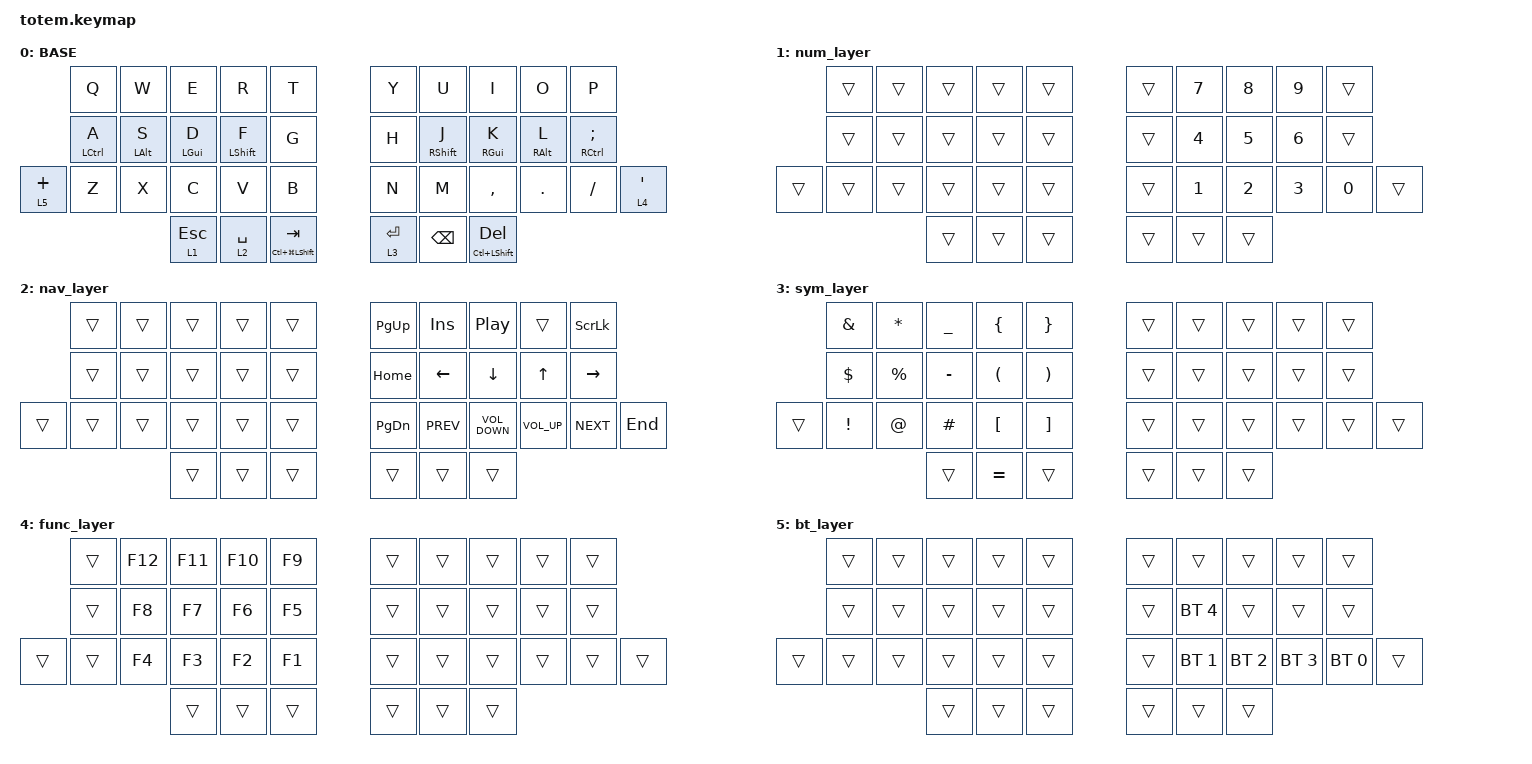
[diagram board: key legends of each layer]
//
//                                                        ▀▀▀▀▀     ▀▀▀▀▀          ▀▀█▀▀
//                                                        ▄▀▀▀▄  ▄  ▄▀▀▀▄  ▄  ▄▀▀▀▄  █  ▄▀▀▀▄
//                                                        █   █  █  █   █  █  █   █  █  █   █
//                                                         ▀▀▀   █   ▀▀▀   █   ▀▀▀   ▀   ▀▀▀
//                                                               █      ▄▄▄█▄▄▄    █   █  
//                                                               ▀      █  █  █     █▄█
//                                                             ▀▀▀▀▀    █  █  █      ▀
//                                                                      ▀  ▀  ▀
//
// ▄▄▄▄▄▄▄▄▄▄▄▄▄▄▄▄▄▄▄▄▄▄▄▄▄▄▄▄▄▄▄▄▄▄▄▄▄▄▄▄▄▄▄▄▄▄▄▄▄▄▄▄▄▄▄▄▄▄▄▄▄▄▄▄▄▄▄▄▄▄▄▄▄▄▄▄▄▄▄▄▄▄▄▄▄▄▄▄▄▄▄▄▄▄▄▄▄▄▄▄▄▄▄▄▄▄▄▄▄▄▄▄▄▄▄▄▄▄▄▄▄▄▄▄▄▄▄▄▄▄▄▄▄▄▄▄▄▄▄▄▄▄▄▄▄▄▄▄▄

#include <behaviors.dtsi>
#include <dt-bindings/zmk/bt.h>
#include <dt-bindings/zmk/keys.h>

#define BASE 0
#define NAV  1
#define SYM  2
#define ADJ  3
#define TVP1 4
#define TVP2 5

&mt {
    quick-tap-ms = <100>;
    global-quick-tap;
    flavor = "tap-preferred";
    tapping-term-ms = <170>;
};

/ {
    combos { compatible = "zmk,combos"; };

    macros {
        gif: gif {
            label = "giphy";
            compatible = "zmk,behavior-macro";
            #binding-cells = <0>;
            bindings =
                <&macro_press>,
                <&kp LSHFT>,
                <&macro_tap>,
                <&kp N2>,
                <&macro_release>,
                <&kp LSHFT>,
                <&macro_tap>,
                <&kp G &kp I &kp F>;
        };
    };

    keymap {
        compatible = "zmk,keymap";

        // ▄▄▄▄▄▄▄▄▄▄▄▄▄▄▄▄▄▄▄▄▄▄▄▄▄▄▄▄▄▄▄▄▄▄▄▄▄▄▄▄▄▄▄▄▄▄▄▄▄▄▄▄▄▄▄▄▄▄▄▄▄▄▄▄▄▄▄▄▄▄▄▄▄▄▄▄▄▄▄▄▄▄▄▄▄▄▄▄▄▄▄▄▄▄▄▄▄▄▄▄▄▄▄▄▄▄▄▄▄▄▄▄▄▄▄▄▄▄▄▄▄▄▄▄▄▄▄▄▄▄▄▄▄▄▄▄▄▄▄▄▄▄▄▄▄▄▄▄▄

        base_layer {
            // ┏━━━━━━━━━━━━━━━━━━━━━━━━━━━━━━━━━━━━━━━┓

            label = "BASE";

            // ┗━━━━━━━━━━━━━━━━━━━━━━━━━━━━━━━━━━━━━━━┛
            //             ┏━━━━━━━━━━━┳━━━━━━━━━━━┳━━━━━━━━━━━┳━━━━━━━━━━━┳━━━━━━━━━━━┓   ┏━━━━━━━━━━━┳━━━━━━━━━━━┳━━━━━━━━━━━┳━━━━━━━━━━━┳━━━━━━━━━━━┓
            //             ┃     Q     ┃     W     ┃     F     ┃     P     ┃     G     ┃   ┃     J     ┃     L     ┃     U     ┃     Y     ┃     ;     ┃
            //             ┣━━━━━━━━━━━╋━━━━━━━━━━━╋━━━━━━━━━━━╋━━━━━━━━━━━╋━━━━━━━━━━━┫   ┣━━━━━━━━━━━╋━━━━━━━━━━━╋━━━━━━━━━━━╋━━━━━━━━━━━╋━━━━━━━━━━━┫
            //             ┃     A     ┃     R     ┃     S     ┃     T     ┃     D     ┃   ┃     H     ┃     N     ┃     E     ┃     I     ┃     O     ┃
            // ┏━━━━━━━━━━━╋━━━━━━━━━━━╋━━━━━━━━━━━╋━━━━━━━━━━━╋━━━━━━━━━━━╋━━━━━━━━━━━┫   ┣━━━━━━━━━━━╋━━━━━━━━━━━╋━━━━━━━━━━━╋━━━━━━━━━━━╋━━━━━━━━━━━╋━━━━━━━━━━━┓
            // ┃     Q     ┃     Z     ┃     X     ┃     C     ┃     V     ┃     B     ┃   ┃     K     ┃     M     ┃     ,     ┃     .     ┃     /     ┃     \     ┃
            // ┗━━━━━━━━━━━┻━━━━━━━━━━━┻━━━━━━━━━━━╋━━━━━━━━━━━╋━━━━━━━━━━━╋━━━━━━━━━━━┫   ┣━━━━━━━━━━━╋━━━━━━━━━━━╋━━━━━━━━━━━╋━━━━━━━━━━━┻━━━━━━━━━━━┻━━━━━━━━━━━┛
            //                                     ┃    DEL    ┃    TAB    ┃    SPC    ┃   ┃   ENTER   ┃           ┃   BSPC    ┃
            //                                     ┗━━━━━━━━━━━┻━━━━━━━━━━━┻━━━━━━━━━━━┛   ┗━━━━━━━━━━━┻━━━━━━━━━━━┻━━━━━━━━━━━┛

            bindings = <
            &kp Q        &kp W           &kp E           &kp R        &kp T                         &kp Y        &kp U          &kp I                   &kp O       &kp P
            &mt LCTRL A  &mt LEFT_ALT S  &mt LEFT_GUI D  &mt LSHFT F  &kp G                         &kp H        &mt RSHFT J    &mt RIGHT_GUI K         &mt RALT L  &mt RCTRL SEMICOLON
&lt 5 PLUS  &kp Z        &kp X           &kp C           &kp V        &kp B                         &kp N        &kp M          &kp COMMA               &kp DOT     &kp FSLH             &lt 4 SQT
                                         &lt 1 ESC       &lt 2 SPACE  &mt LC(LG(LEFT_SHIFT)) TAB    &lt 3 ENTER  &kp BACKSPACE  &mt LC(LEFT_SHIFT) DEL
            >;
        };

        // ▄▄▄▄▄▄▄▄▄▄▄▄▄▄▄▄▄▄▄▄▄▄▄▄▄▄▄▄▄▄▄▄▄▄▄▄▄▄▄▄▄▄▄▄▄▄▄▄▄▄▄▄▄▄▄▄▄▄▄▄▄▄▄▄▄▄▄▄▄▄▄▄▄▄▄▄▄▄▄▄▄▄▄▄▄▄▄▄▄▄▄▄▄▄▄▄▄▄▄▄▄▄▄▄▄▄▄▄▄▄▄▄▄▄▄▄▄▄▄▄▄▄▄▄▄▄▄▄▄▄▄▄▄▄▄▄▄▄▄▄▄▄▄▄▄▄▄▄▄
        // ▄▄▄▄▄▄▄▄▄▄▄▄▄▄▄▄▄▄▄▄▄▄▄▄▄▄▄▄▄▄▄▄▄▄▄▄▄▄▄▄▄▄▄▄▄▄▄▄▄▄▄▄▄▄▄▄▄▄▄▄▄▄▄▄▄▄▄▄▄▄▄▄▄▄▄▄▄▄▄▄▄▄▄▄▄▄▄▄▄▄▄▄▄▄▄▄▄▄▄▄▄▄▄▄▄▄▄▄▄▄▄▄▄▄▄▄▄▄▄▄▄▄▄▄▄▄▄▄▄▄▄▄▄▄▄▄▄▄▄▄▄▄▄▄▄▄▄▄▄
        // ▄▄▄▄▄▄▄▄▄▄▄▄▄▄▄▄▄▄▄▄▄▄▄▄▄▄▄▄▄▄▄▄▄▄▄▄▄▄▄▄▄▄▄▄▄▄▄▄▄▄▄▄▄▄▄▄▄▄▄▄▄▄▄▄▄▄▄▄▄▄▄▄▄▄▄▄▄▄▄▄▄▄▄▄▄▄▄▄▄▄▄▄▄▄▄▄▄▄▄▄▄▄▄▄▄▄▄▄▄▄▄▄▄▄▄▄▄▄▄▄▄▄▄▄▄▄▄▄▄▄▄▄▄▄▄▄▄▄▄▄▄▄▄▄▄▄▄▄▄
        // ▄▄▄▄▄▄▄▄▄▄▄▄▄▄▄▄▄▄▄▄▄▄▄▄▄▄▄▄▄▄▄▄▄▄▄▄▄▄▄▄▄▄▄▄▄▄▄▄▄▄▄▄▄▄▄▄▄▄▄▄▄▄▄▄▄▄▄▄▄▄▄▄▄▄▄▄▄▄▄▄▄▄▄▄▄▄▄▄▄▄▄▄▄▄▄▄▄▄▄▄▄▄▄▄▄▄▄▄▄▄▄▄▄▄▄▄▄▄▄▄▄▄▄▄▄▄▄▄▄▄▄▄▄▄▄▄▄▄▄▄▄▄▄▄▄▄▄▄▄
        // ▄▄▄▄▄▄▄▄▄▄▄▄▄▄▄▄▄▄▄▄▄▄▄▄▄▄▄▄▄▄▄▄▄▄▄▄▄▄▄▄▄▄▄▄▄▄▄▄▄▄▄▄▄▄▄▄▄▄▄▄▄▄▄▄▄▄▄▄▄▄▄▄▄▄▄▄▄▄▄▄▄▄▄▄▄▄▄▄▄▄▄▄▄▄▄▄▄▄▄▄▄▄▄▄▄▄▄▄▄▄▄▄▄▄▄▄▄▄▄▄▄▄▄▄▄▄▄▄▄▄▄▄▄▄▄▄▄▄▄▄▄▄▄▄▄▄▄▄▄

        num_layer {
            bindings = <
        &trans  &trans  &trans  &trans  &trans    &trans  &kp N7  &kp N8  &kp N9  &trans
        &trans  &trans  &trans  &trans  &trans    &trans  &kp N4  &kp N5  &kp N6  &trans
&trans  &trans  &trans  &trans  &trans  &trans    &trans  &kp N1  &kp N2  &kp N3  &kp N0  &trans
                        &trans  &trans  &trans    &trans  &trans  &trans
            >;
        };

        nav_layer {
            bindings = <
        &trans  &trans  &trans  &trans  &trans    &kp PG_UP  &kp INS     &kp C_PLAY_PAUSE   &trans           &kp SCROLLLOCK
        &trans  &trans  &trans  &trans  &trans    &kp HOME   &kp LEFT    &kp DOWN           &kp UP           &kp RIGHT
&trans  &trans  &trans  &trans  &trans  &trans    &kp PG_DN  &kp C_PREV  &kp C_VOLUME_DOWN  &kp C_VOLUME_UP  &kp C_NEXT      &kp END
                        &trans  &trans  &trans    &trans     &trans      &trans
            >;
        };

        sym_layer {
            bindings = <
        &kp AMPERSAND  &kp ASTERISK  &kp UNDER  &kp LEFT_BRACE        &kp RIGHT_BRACE          &trans  &trans  &trans  &trans  &trans
        &kp DOLLAR     &kp PERCENT   &kp MINUS  &kp LEFT_PARENTHESIS  &kp RIGHT_PARENTHESIS    &trans  &trans  &trans  &trans  &trans
&trans  &kp EXCL       &kp AT        &kp HASH   &kp LBKT              &kp RBKT                 &trans  &trans  &trans  &trans  &trans  &trans
                                     &trans     &kp EQUAL             &trans                   &trans  &trans  &trans
            >;
        };

        func_layer {
            bindings = <
        &trans  &kp F12  &kp F11  &kp F10  &kp F9    &trans  &trans  &trans  &trans  &trans
        &trans  &kp F8   &kp F7   &kp F6   &kp F5    &trans  &trans  &trans  &trans  &trans
&trans  &trans  &kp F4   &kp F3   &kp F2   &kp F1    &trans  &trans  &trans  &trans  &trans  &trans
                         &trans   &trans   &trans    &trans  &trans  &trans
            >;
        };

        bt_layer {
            bindings = <
        &trans  &trans  &trans  &trans  &trans    &trans  &trans        &trans        &trans        &trans
        &trans  &trans  &trans  &trans  &trans    &trans  &bt BT_SEL 4  &trans        &trans        &trans
&trans  &trans  &trans  &trans  &trans  &trans    &trans  &bt BT_SEL 1  &bt BT_SEL 2  &bt BT_SEL 3  &bt BT_SEL 0  &trans
                        &trans  &trans  &trans    &trans  &trans        &trans
            >;
        };
    };
};
